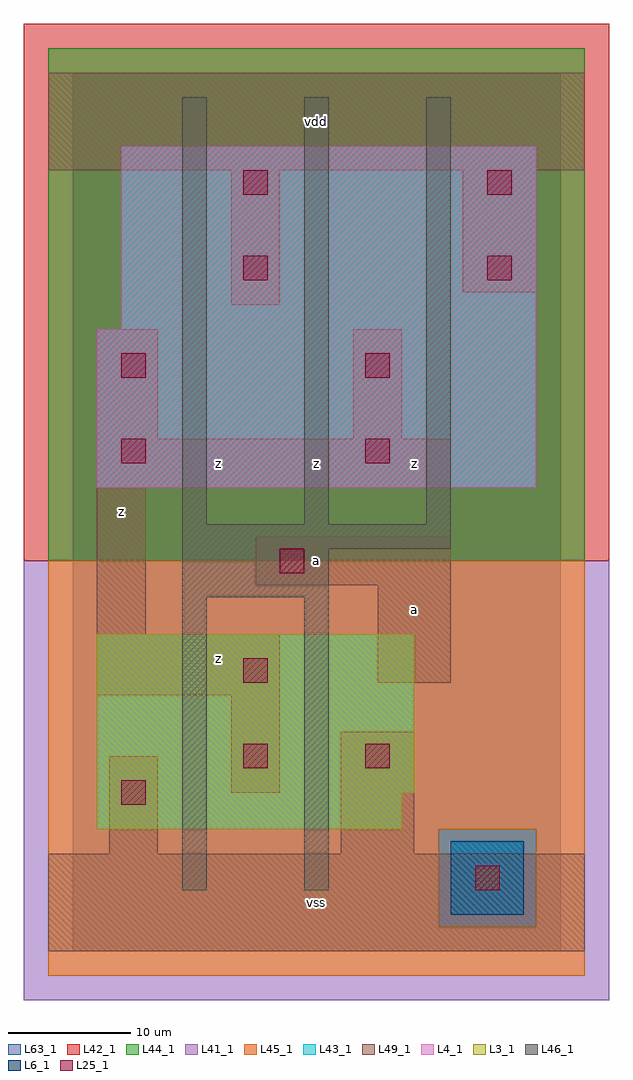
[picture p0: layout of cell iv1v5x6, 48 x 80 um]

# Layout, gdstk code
import gdstk
lib = gdstk.Library(unit=1e-6, precision=1e-09)
def R(c, l, rs):  # rectangles x0, y0, x1, y1
    for r in rs: c.add(gdstk.rectangle(r[:2], r[2:], *l))
def A(c, l, x, y, w, h, nx, ny, dx, dy):  # array of equal rectangles
    R(c, l, [(x+i*dx, y+j*dy, x+i*dx+w, y+j*dy+h) for i in range(nx) for j in range(ny)])
L3_1 = (3, 1)
L4_1 = (4, 1)
L6_1 = (6, 1)
L25_1 = (25, 1)
L41_1 = (41, 1)
L42_1 = (42, 1)
L43_1 = (43, 1)
L44_1 = (44, 1)
L45_1 = (45, 1)
L46_1 = (46, 1)
L49_1 = (49, 1)
L63_1 = (63, 1)

iv1v5x6 = lib.new_cell('iv1v5x6')
R(iv1v5x6, L3_1, [(2,10,27,13), (2,13,28,26)])
R(iv1v5x6, L4_1, [(2,38,38,51), (4,51,38,66)])
R(iv1v5x6, L6_1, [(31,3,37,9), (31,3,37,9)])
R(iv1v5x6, L25_1, [(33,5,35,7), (4,12,6,14), (14,15,16,17), (24,15,26,17), (14,22,16,24), (17,31,19,33), (4,40,6,42), (24,40,26,42), (4,47,6,49), (24,47,26,49), (14,55,16,57), (34,55,36,57), (14,62,16,64), (34,62,36,64)])
R(iv1v5x6, L41_1, [(-4,-4,44,32)])
R(iv1v5x6, L42_1, [(-4,32,44,76)])
R(iv1v5x6, L43_1, [(31,3,37,9), (2,10,27,13), (2,13,28,26), (2,38,38,51), (4,51,38,66)])
R(iv1v5x6, L44_1, [(30,2,38,10), (-2,32,42,74)])
R(iv1v5x6, L45_1, [(-2,-2,42,2), (-2,2,30,10), (38,2,42,10), (-2,10,42,32)])
A(iv1v5x6, L46_1, 9, 35, 2, 35, 3, 1, 10, 0)
R(iv1v5x6, L46_1, [(9,5,11,29), (19,5,21,29), (9,29,21,33), (9,33,31,35)])
R(iv1v5x6, L49_1, [(-2,0,42,8), (3,8,7,16), (22,8,28,18), (13,13,17,21), (2,21,17,26), (25,22,31,30), (2,26,6,38), (15,30,31,34), (2,38,31,42), (2,42,7,51), (23,42,27,51), (13,53,17,64), (32,54,38,64), (-2,64,42,72)])
R(iv1v5x6, L63_1, [(0,0,40,72)])
iv1v5x6.add(gdstk.Label('z', (4,36), layer=49, texttype=1))
iv1v5x6.add(gdstk.Label('z', (12,24), layer=49, texttype=1))
iv1v5x6.add(gdstk.Label('z', (12,40), layer=49, texttype=1))
iv1v5x6.add(gdstk.Label('vss', (20,4), layer=49, texttype=1))
iv1v5x6.add(gdstk.Label('a', (20,32), layer=49, texttype=1))
iv1v5x6.add(gdstk.Label('a', (28,28), layer=49, texttype=1))
iv1v5x6.add(gdstk.Label('z', (28,40), layer=49, texttype=1))
iv1v5x6.add(gdstk.Label('z', (20,40), layer=49, texttype=1))
iv1v5x6.add(gdstk.Label('vdd', (20,68), layer=49, texttype=1))

lib.write_gds('iv1v5x6.gds')
